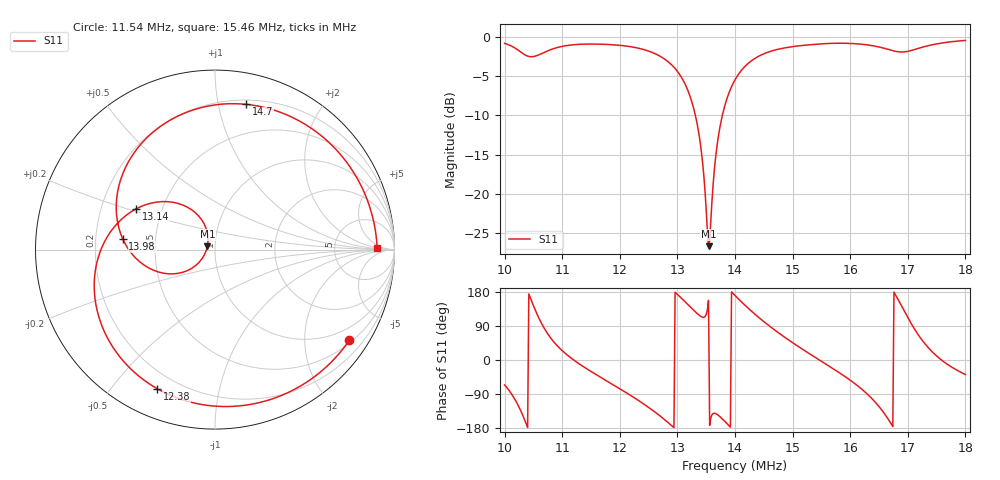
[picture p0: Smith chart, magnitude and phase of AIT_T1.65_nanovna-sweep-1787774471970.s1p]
! NanoVNA Web complex sweep
! Processing: original sample grid, no browser smoothing
# Hz S RI R 50
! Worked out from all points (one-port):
!   401 points, 10 MHz to 18 MHz, reference 50 ohm
!   lowest |S11| = -26.7 dB at 13.54 MHz (marker M1), VSWR 1.10, Z = 45.9 + j1.64 ohm
!   |S11| at or under -10 dB: 13.31 MHz to 13.78 MHz (468.4 kHz wide, 3.46 % of centre)
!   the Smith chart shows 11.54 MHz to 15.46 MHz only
!   S11 on the Smith chart (normalised r, x): 11.54 MHz: 0.58, -3.18; 12.38 MHz: 0.13, -0.66; 13.14 MHz: 0.36, +0.21; 13.98 MHz: 0.32, +0.05; 14.7 MHz: 0.24, +1.21; 15.46 MHz: 20, +1
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1e7  0.3733 -0.8317
1.022e7  -0.3568 -0.7524
1.042e7  -0.7488 0.0745
1.066e7  -0.0172 0.7899
1.1e7  0.7929 0.3646
1.154e7  0.749 -0.5041
1.2e7  0.217 -0.8589
1.238e7  -0.3211 -0.7756
1.272e7  -0.6485 -0.3711
1.3e7  -0.5997 0.0722
1.314e7  -0.4401 0.2267
1.338e7  -0.109 0.2052
1.354e7  -0.0427 0.0178
1.374e7  -0.2314 -0.1351
1.398e7  -0.5137 0.0587
1.4e7  -0.5259 0.0891
1.428e7  -0.4489 0.5419
1.47e7  0.1743 0.8091
1.5e7  0.6074 0.6219
1.546e7  0.9035 0.00663
1.6e7  0.5454 -0.727
1.638e7  -0.1881 -0.862
1.668e7  -0.7841 -0.2735
1.684e7  -0.7429 0.3106
1.7e7  -0.305 0.7512
1.718e7  0.3323 0.7785
1.742e7  0.8262 0.3376
1.8e7  0.7456 -0.5914
